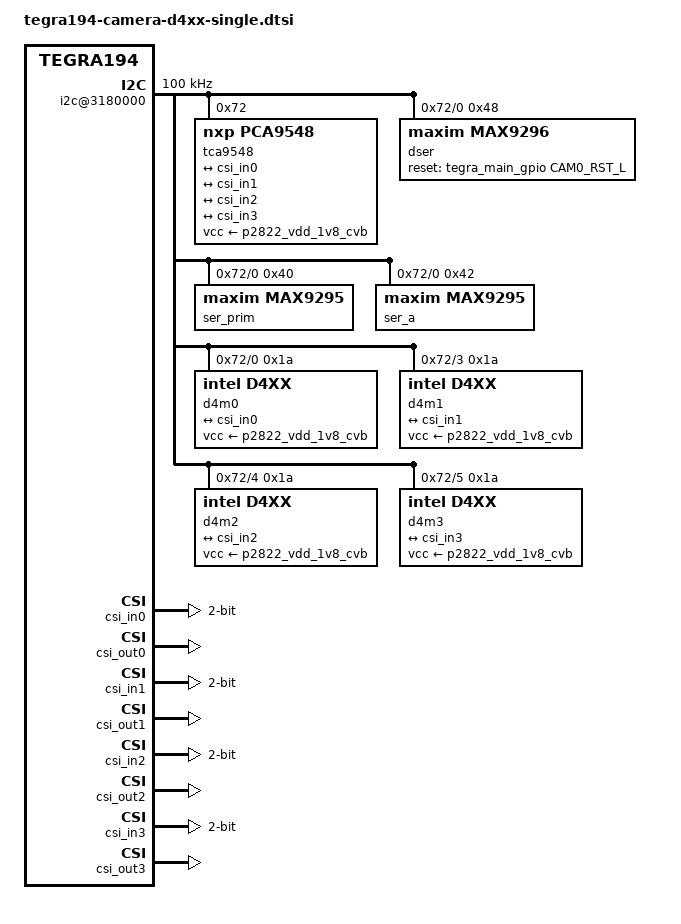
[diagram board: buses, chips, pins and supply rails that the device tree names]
#include "dt-bindings/clock/tegra194-clock.h"

#define CAM0_RST_L	TEGRA194_MAIN_GPIO(H, 3)
#define CAMERA_I2C_MUX_BUS(x) (0x1E + x)


/ {
	tegra-capture-vi {
		num-channels = <4>;

		ports {
			#address-cells = <0x1>;
			#size-cells = <0x0>;

			port@0 {
				reg = <0>;
				status = "ok";

				vi_in0: endpoint {
					status = "ok";
					port-index = <0>;
					bus-width = <2>;
					vc-id = <0>;
					remote-endpoint = <&csi_out0>;
				};
			};
			port@1 {
				reg = <1>;
				status = "ok";

				vi_in1: endpoint {
					status = "ok";
					vc-id = <1>;
					port-index = <0>;
					bus-width = <2>;
					remote-endpoint = <&csi_out1>;
				};
			};
			port@2 {
				reg = <2>;
				status = "ok";

				vi_in2: endpoint {
					status = "ok";
					port-index = <0>;
					bus-width = <2>;
					vc-id = <2>;
					remote-endpoint = <&csi_out2>;
				};
			};
			port@3 {
				reg = <3>;
				status = "ok";

				vi_in3: endpoint {
					status = "ok";
					port-index = <0>;
					bus-width = <2>;
					vc-id = <3>;
					remote-endpoint = <&csi_out3>;
				};
			};
		};
	};

	i2c@3180000 {
		status = "ok";
		clock-frequency = <100000>;
		tca9548@72 {
			status = "ok";
			reg = <0x72>;
			compatible = "nxp,pca9548";
			#address-cells = <1>;
			#size-cells = <0>;
			skip_mux_detect = "yes";
			vcc-supply = <&p2822_vdd_1v8_cvb>;
			/*vcc-pullup-supply = <&battery_reg>;*/
			force_bus_start = <CAMERA_I2C_MUX_BUS(0)>;
			vcc_lp = "vcc";
			i2c@0 {
				reg = <0x0>;
				#address-cells = <0x1>;
				i2c-mux,deselect-on-exit;
				#size-cells = <0x0>;

				dser: max9296@48 {
					status = "ok";
					reg = <0x48>;
					compatible = "maxim,max9296";
					csi-mode = "2x4";
					max-src = <1>;
					reset-gpios = <&tegra_main_gpio CAM0_RST_L GPIO_ACTIVE_HIGH>;
				};

				ser_prim: max9295_prim@40 {
					status = "ok";
					reg = <0x40>;
					compatible = "maxim,max9295";
					is-prim-ser;
				};

				ser_a: max9295_a@42 {
					compatible = "maxim,max9295";
					reg = <0x42>;
					maxim,gmsl-dser-device = <&dser>;
				};

				d4m0: d4m@1a {
					status = "ok";
					def-addr = <0x10>;
					reg = <0x1a>;
					compatible = "intel,d4xx";
					vcc-supply = <&p2822_vdd_1v8_cvb>;
					cam-type = "Depth";
					maxim,gmsl-ser-device = <&ser_a>;
					maxim,gmsl-dser-device = <&dser>;
					ports {
						#address-cells = <1>;
						#size-cells = <0>;

						port@0 {
							reg = <0>;
							d4m0_out: endpoint {
								port-index = <0>;
								bus-width = <2>;
								remote-endpoint = <&csi_in0>;
							};
						};
					};
					mode0 {
						pixel_t = "grey_y16";
						num_lanes = "2";
						csi_pixel_bit_depth = "16";
						active_w = "128";
						active_h = "0";
						tegra_sinterface = "serial_a";
						mclk_khz = "24000";
						pix_clk_hz = "74250000";
						line_length = "1280"; /* 2200 */
						embedded_metadata_height = "1";
					};
					gmsl-link {
						src-csi-port = "b";
						dst-csi-port = "a";
						serdes-csi-link = "a";
						csi-mode = "1x4";
						st-vc = <0>;
						vc-id = <0>;
						num-lanes = <2>;
					};
				};
			};

			i2c@1 {
				status = "ok";
				reg = <0x3>; 	// line 18-19 of the I2C switch
				#address-cells = <0x1>;
				i2c-mux,deselect-on-exit;
				#size-cells = <0x0>;

				d4m1: d4m@1a {
					status = "ok";
					def-addr = <0x10>;
					reg = <0x1a>;
					compatible = "intel,d4xx";
					vcc-supply = <&p2822_vdd_1v8_cvb>;
					cam-type = "RGB";
					maxim,gmsl-ser-device = <&ser_a>;
					maxim,gmsl-dser-device = <&dser>;
					ports {
						#address-cells = <1>;
						#size-cells = <0>;

						port@0 {
							reg = <0>;
							d4m1_out: endpoint {
								port-index = <1>;
								bus-width = <2>;
								remote-endpoint = <&csi_in1>;
							};
						};
					};
					mode0 {
						pixel_t = "grey_y16";
						num_lanes = "2";
						csi_pixel_bit_depth = "16";
						active_w = "128";
						active_h = "0";
						tegra_sinterface = "serial_e";
						mclk_khz = "24000";
						pix_clk_hz = "74250000";
						line_length = "1280"; /* 2200 */
						embedded_metadata_height = "1";
					};
					gmsl-link {
						src-csi-port = "b";
						dst-csi-port = "a";
						serdes-csi-link = "a";
						csi-mode = "1x4";
						st-vc = <0>;
						vc-id = <1>;
						num-lanes = <2>;
					};
				};
			};
			i2c@2 {
				reg = <0x4>;	// line 4 of the I2C switch
				#address-cells = <0x1>;
				i2c-mux,deselect-on-exit;
				#size-cells = <0x0>;

				d4m2: d4m@1a {
					status = "ok";
					def-addr = <0x10>;
					reg = <0x1a>;
					compatible = "intel,d4xx";
					vcc-supply = <&p2822_vdd_1v8_cvb>;
					cam-type = "Y8";
					maxim,gmsl-ser-device = <&ser_a>;
					maxim,gmsl-dser-device = <&dser>;
					ports {
						#address-cells = <1>;
						#size-cells = <0>;

						port@0 {
							reg = <0>;
							d4m2_out: endpoint {
								port-index = <2>;
								bus-width = <2>;
								remote-endpoint = <&csi_in2>;
							};
						};
					};
					/* mode0: Y8, mode1: depth D16 */
					mode0 {
						pixel_t = "grey_y16";
						num_lanes = "2";
						csi_pixel_bit_depth = "16";
						active_w = "128";
						active_h = "0";
						tegra_sinterface = "serial_b";
						mclk_khz = "24000";
						pix_clk_hz = "74250000";
						line_length = "1280"; /* 2200 */
						embedded_metadata_height = "1";
					};
					gmsl-link {
						src-csi-port = "b";
						dst-csi-port = "a";
						serdes-csi-link = "a";
						csi-mode = "1x4";
						st-vc = <0>;
						vc-id = <2>;
						num-lanes = <2>;
					};
				};
			};
			i2c@3 {
				reg = <0x5>;	// line 4 of the I2C switch
				#address-cells = <0x1>;
				i2c-mux,deselect-on-exit;
				#size-cells = <0x0>;

				d4m3: d4m@1a {
					status = "ok";
					def-addr = <0x10>;
					reg = <0x1a>;
					compatible = "intel,d4xx";
					vcc-supply = <&p2822_vdd_1v8_cvb>;
					cam-type = "IMU";
					maxim,gmsl-ser-device = <&ser_a>;
					maxim,gmsl-dser-device = <&dser>;
					ports {
						#address-cells = <1>;
						#size-cells = <0>;

						port@0 {
							reg = <0>;
							d4m3_out: endpoint {
								port-index = <3>;
								bus-width = <2>;
								remote-endpoint = <&csi_in3>;
							};
						};
					};
					mode0 {
						pixel_t = "grey_y16";
						num_lanes = "2";
						csi_pixel_bit_depth = "16";
						active_w = "128";
						active_h = "0";
						tegra_sinterface = "serial_b";
						mclk_khz = "24000";
						pix_clk_hz = "74250000";
						line_length = "1280"; /* 2200 */
						embedded_metadata_height = "0";
					};
					gmsl-link {
						src-csi-port = "b";
						dst-csi-port = "a";
						serdes-csi-link = "a";
						csi-mode = "1x4";
						st-vc = <0>;
						vc-id = <3>;
						num-lanes = <2>;
					};
				};
			};
		};
	};

	host1x@13e00000 {
		nvcsi@15a00000 {
			#address-cells = <0x1>;
			#size-cells = <0x0>;

			num-channels = <4>;

			channel@0 {
				reg = <0x0>;
				status = "ok";

				ports {
					#address-cells = <0x1>;
					#size-cells = <0x0>;

					port@0 {
						reg = <0>;
						status = "ok";

						csi_in0: endpoint@0 {
							status = "ok";
							port-index = <0>;
							bus-width = <2>;
							remote-endpoint = <&d4m0_out>;
						};
					};
					port@1 {
						reg = <1>;
						status = "ok";
						csi_out0: endpoint@1 {
							status = "ok";
							remote-endpoint = <&vi_in0>;
						};
					};

				};
			};
			channel@1 {
				reg = <0x1>;
				status = "ok";

				ports {
					#address-cells = <0x1>;
					#size-cells = <0x0>;

					port@0 {
						reg = <0>;
						status = "ok";

						csi_in1: endpoint@2 {
							status = "ok";
							port-index = <0>;
							bus-width = <2>;
							remote-endpoint = <&d4m1_out>;
						};
					};
					port@1 {
						reg = <1>;
						status = "ok";
						csi_out1: endpoint@3 {
							status = "ok";
							remote-endpoint = <&vi_in1>;
						};
					};

				};
			};
			channel@2 {
				reg = <0x2>;
				status = "ok";

				ports {
					#address-cells = <0x1>;
					#size-cells = <0x0>;

					port@0 {
						reg = <0>;
						status = "ok";

						csi_in2: endpoint@4 {
							status = "ok";
							port-index = <0>;
							bus-width = <2>;
							remote-endpoint = <&d4m2_out>;
						};
					};
					port@1 {
						reg = <1>;
						status = "ok";
						csi_out2: endpoint@5 {
							status = "ok";
							remote-endpoint = <&vi_in2>;
						};
					};
				};
			};
			channel@3 {
				reg = <0x3>;
				status = "ok";

				ports {
					#address-cells = <0x1>;
					#size-cells = <0x0>;

					port@0 {
						reg = <0>;
						status = "ok";

						csi_in3: endpoint@6 {
							status = "ok";
							port-index = <0>;
							bus-width = <2>;
							remote-endpoint = <&d4m3_out>;
						};
					};
					port@1 {
						reg = <1>;
						status = "ok";
						csi_out3: endpoint@7 {
							status = "ok";
							remote-endpoint = <&vi_in3>;
						};
					};
				};
			};
		};
	};
};
